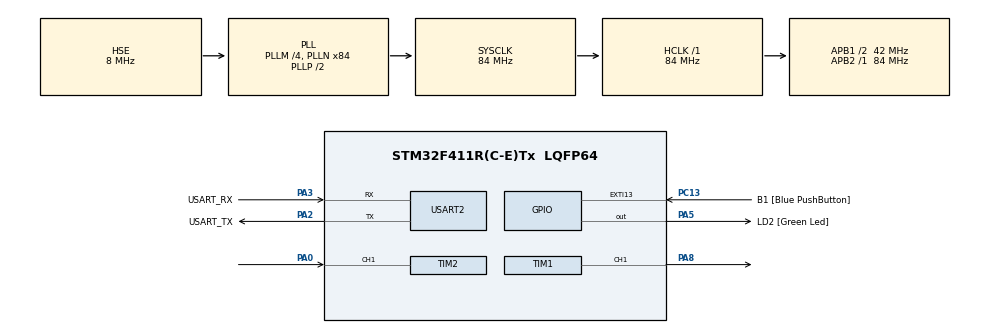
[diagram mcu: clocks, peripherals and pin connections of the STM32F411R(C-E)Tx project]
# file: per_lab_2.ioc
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Dma.Request0=TIM2_CH1
Dma.TIM2_CH1.0.Direction=DMA_PERIPH_TO_MEMORY
Dma.TIM2_CH1.0.FIFOMode=DMA_FIFOMODE_DISABLE
Dma.TIM2_CH1.0.Instance=DMA1_Stream5
Dma.TIM2_CH1.0.MemDataAlignment=DMA_MDATAALIGN_WORD
Dma.TIM2_CH1.0.MemInc=DMA_MINC_ENABLE
Dma.TIM2_CH1.0.Mode=DMA_CIRCULAR
Dma.TIM2_CH1.0.PeriphDataAlignment=DMA_PDATAALIGN_WORD
Dma.TIM2_CH1.0.PeriphInc=DMA_PINC_DISABLE
Dma.TIM2_CH1.0.Priority=DMA_PRIORITY_LOW
Mcu.Family=STM32F4
Mcu.Name=STM32F411R(C-E)Tx
Mcu.Package=LQFP64
NVIC.DMA1_Stream5_IRQn=true\:0\:0\:false\:false\:true\:false\:true\:true
NVIC.PriorityGroup=NVIC_PRIORITYGROUP_0
PA0-WKUP.Signal=S_TIM2_CH1_ETR
PA1.Signal=S_TIM2_CH2
PA13.GPIO_Label=TMS
PA13.Mode=Serial_Wire
PA13.Signal=SYS_JTMS-SWDIO
PA14.GPIO_Label=TCK
PA14.Mode=Serial_Wire
PA14.Signal=SYS_JTCK-SWCLK
PA2.GPIO_Label=USART_TX
PA2.Mode=Asynchronous
PA2.Signal=USART2_TX
PA3.GPIO_Label=USART_RX
PA3.Mode=Asynchronous
PA3.Signal=USART2_RX
PA5.GPIO_Label=LD2 [Green Led]
PA5.Signal=GPIO_Output
PA8.Signal=S_TIM1_CH1
PB3.GPIO_Label=SWO
PB3.Signal=SYS_JTDO-SWO
PC13-ANTI_TAMP.GPIO_Label=B1 [Blue PushButton]
PC13-ANTI_TAMP.GPIO_ModeDefaultEXTI=GPIO_MODE_IT_FALLING
PC13-ANTI_TAMP.Signal=GPXTI13
PC14-OSC32_IN.Mode=LSE-External-Oscillator
PC14-OSC32_IN.Signal=RCC_OSC32_IN
PC15-OSC32_OUT.Mode=LSE-External-Oscillator
PC15-OSC32_OUT.Signal=RCC_OSC32_OUT
PH0\ -\ OSC_IN.Mode=HSE-External-Clock-Source
PH0\ -\ OSC_IN.Signal=RCC_OSC_IN
PH1\ -\ OSC_OUT.Mode=HSE-External-Clock-Source
PH1\ -\ OSC_OUT.Signal=RCC_OSC_OUT
ProjectManager.HeapSize=0x200
ProjectManager.StackSize=0x400
ProjectManager.TargetToolchain=STM32CubeIDE
RCC.48MHZClocksFreq_Value=42000000
RCC.AHBFreq_Value=84000000
RCC.APB1CLKDivider=RCC_HCLK_DIV2
RCC.APB1Freq_Value=42000000
RCC.APB1TimFreq_Value=84000000
RCC.APB2Freq_Value=84000000
RCC.APB2TimFreq_Value=84000000
RCC.CortexFreq_Value=84000000
RCC.FLatency-AdvancedSettings=FLASH_LATENCY_2
RCC.HCLKFreq_Value=84000000
RCC.HSE_VALUE=8000000
RCC.HSI_VALUE=16000000
RCC.PLLM=4
RCC.PLLN=84
RCC.PLLSourceVirtual=RCC_PLLSOURCE_HSE
RCC.SYSCLKFreq_VALUE=84000000
RCC.SYSCLKSource=RCC_SYSCLKSOURCE_PLLCLK
RCC.VCOOutputFreq_Value=168000000
SH.S_TIM1_CH1.0=TIM1_CH1,PWM Generation1 CH1
SH.S_TIM2_CH1_ETR.0=TIM2_CH1,Input_Capture1_from_TI1
SH.S_TIM2_CH2.0=TIM2_CH2
TIM1.Channel-PWM\ Generation1\ CH1=TIM_CHANNEL_1
TIM1.Period=999
TIM1.Prescaler=83
TIM1.Pulse-PWM\ Generation1\ CH1=500
TIM2.Channel-Input_Capture1_from_TI1=TIM_CHANNEL_1
TIM2.Prescaler=83
USART2.VirtualMode=VM_ASYNC
VP_TIM1_VS_ClockSourceINT.Mode=Internal
VP_TIM2_VS_ClockSourceINT.Mode=Internal
board=NUCLEO-F411RE

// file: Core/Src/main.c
/* USER CODE BEGIN Header */
/**
  ******************************************************************************
  * @file           : main.c
  * @brief          : Main program body
  ******************************************************************************
  * @attention
  *
  * Copyright (c) 2023 STMicroelectronics.
  * All rights reserved.
  *
  * This software is licensed under terms that can be found in the LICENSE file
  * in the root directory of this software component.
  * If no LICENSE file comes with this software, it is provided AS-IS.
  *
  ******************************************************************************
  */
/* USER CODE END Header */
#include "main.h"

/* USER CODE BEGIN Includes */
#define IC_BUFFER_SIZE 20
/* USER CODE END Includes */

TIM_HandleTypeDef htim1;
TIM_HandleTypeDef htim2;
DMA_HandleTypeDef hdma_tim2_ch1;

UART_HandleTypeDef huart2;

/* USER CODE BEGIN PV */
uint32_t InputCaptuerBuffer1[IC_BUFFER_SIZE];

float averageRisingedgePeriod;
float averageRisingedgePeriod2;
float final_rpm;
float rpm;
float final_rpm2 =0;
float rpm2;
float MotorSetRPM;

uint16_t MotorControlEnable=0;
uint32_t duty=1000;
uint32_t duty2=0;
uint32_t n=0;
uint32_t d=0;
/* USER CODE END PV */

void SystemClock_Config(void);
static void MX_GPIO_Init(void);
static void MX_DMA_Init(void);
static void MX_USART2_UART_Init(void);
static void MX_TIM1_Init(void);
static void MX_TIM2_Init(void);
/* USER CODE BEGIN PFP */
float IC_Calc_Period();
void RPM(float chicken);
void RPM2(float chicken);
void adj(float jib);
/* USER CODE END PFP */

int main(void)
{

  /* MCU Configuration--------------------------------------------------------*/

  /* Reset of all peripherals, Initializes the Flash interface and the Systick. */

HAL_Init();

  /* Configure the system clock */
  SystemClock_Config();

  /* Initialize all configured peripherals */
  MX_GPIO_Init();
  MX_DMA_Init();
  MX_USART2_UART_Init();
  MX_TIM1_Init();
  MX_TIM2_Init();
  /* USER CODE BEGIN 2 */
  HAL_TIM_Base_Start(&htim2);
  HAL_TIM_IC_Start_DMA(&htim2, TIM_CHANNEL_1, InputCaptuerBuffer1, IC_BUFFER_SIZE);

  HAL_TIM_Base_Start(&htim1);
  HAL_TIM_PWM_Start(&htim1, TIM_CHANNEL_1);
  /* USER CODE END 2 */

  /* Infinite loop */
  while (1)
  {

    /* USER CODE BEGIN 3 */
	  static uint32_t timestamp = 0;
	  if(HAL_GetTick()>=timestamp )
	  {
		  timestamp = HAL_GetTick() + 500;
		  averageRisingedgePeriod = IC_Calc_Period();
	  }

	  static uint32_t timestamp2 = 0;
	  if(HAL_GetTick()>=timestamp2)
	  {
		  timestamp2 = HAL_GetTick() + 500;
		  averageRisingedgePeriod = IC_Calc_Period();
			if ( MotorControlEnable == 0)
			{
				  RPM(averageRisingedgePeriod);
				  __HAL_TIM_SET_COMPARE(&htim1,TIM_CHANNEL_1,duty);
				  n=0;

			}
			if(MotorControlEnable == 1)
			{
						final_rpm = 0;
						RPM(averageRisingedgePeriod);
						adj(MotorSetRPM);
					  __HAL_TIM_SET_COMPARE(&htim1,TIM_CHANNEL_1,duty2);

			}

	  }

  }
  /* USER CODE END 3 */
}

void SystemClock_Config(void)
{
  RCC_OscInitTypeDef RCC_OscInitStruct = {0};
  RCC_ClkInitTypeDef RCC_ClkInitStruct = {0};

  /** Configure the main internal regulator output voltage
  */
  __HAL_RCC_PWR_CLK_ENABLE();
  __HAL_PWR_VOLTAGESCALING_CONFIG(PWR_REGULATOR_VOLTAGE_SCALE1);

  /** Initializes the RCC Oscillators according to the specified parameters
  * in the RCC_OscInitTypeDef structure.
  */
  RCC_OscInitStruct.OscillatorType = RCC_OSCILLATORTYPE_HSE;
  RCC_OscInitStruct.HSEState = RCC_HSE_BYPASS;
  RCC_OscInitStruct.PLL.PLLState = RCC_PLL_ON;
  RCC_OscInitStruct.PLL.PLLSource = RCC_PLLSOURCE_HSE;
  RCC_OscInitStruct.PLL.PLLM = 4;
  RCC_OscInitStruct.PLL.PLLN = 84;
  RCC_OscInitStruct.PLL.PLLP = RCC_PLLP_DIV2;
  RCC_OscInitStruct.PLL.PLLQ = 4;
  if (HAL_RCC_OscConfig(&RCC_OscInitStruct) != HAL_OK)
  {
    Error_Handler();
  }

  /** Initializes the CPU, AHB and APB buses clocks
  */
  RCC_ClkInitStruct.ClockType = RCC_CLOCKTYPE_HCLK|RCC_CLOCKTYPE_SYSCLK
                              |RCC_CLOCKTYPE_PCLK1|RCC_CLOCKTYPE_PCLK2;
  RCC_ClkInitStruct.SYSCLKSource = RCC_SYSCLKSOURCE_PLLCLK;
  RCC_ClkInitStruct.AHBCLKDivider = RCC_SYSCLK_DIV1;
  RCC_ClkInitStruct.APB1CLKDivider = RCC_HCLK_DIV2;
  RCC_ClkInitStruct.APB2CLKDivider = RCC_HCLK_DIV1;

  if (HAL_RCC_ClockConfig(&RCC_ClkInitStruct, FLASH_LATENCY_2) != HAL_OK)
  {
    Error_Handler();
  }
}

static void MX_TIM1_Init(void)
{

  TIM_ClockConfigTypeDef sClockSourceConfig = {0};
  TIM_MasterConfigTypeDef sMasterConfig = {0};
  TIM_OC_InitTypeDef sConfigOC = {0};
  TIM_BreakDeadTimeConfigTypeDef sBreakDeadTimeConfig = {0};

  htim1.Instance = TIM1;
  htim1.Init.Prescaler = 83;
  htim1.Init.CounterMode = TIM_COUNTERMODE_UP;
  htim1.Init.Period = 999;
  htim1.Init.ClockDivision = TIM_CLOCKDIVISION_DIV1;
  htim1.Init.RepetitionCounter = 0;
  htim1.Init.AutoReloadPreload = TIM_AUTORELOAD_PRELOAD_DISABLE;
  if (HAL_TIM_Base_Init(&htim1) != HAL_OK)
  {
    Error_Handler();
  }
  sClockSourceConfig.ClockSource = TIM_CLOCKSOURCE_INTERNAL;
  if (HAL_TIM_ConfigClockSource(&htim1, &sClockSourceConfig) != HAL_OK)
  {
    Error_Handler();
  }
  if (HAL_TIM_PWM_Init(&htim1) != HAL_OK)
  {
    Error_Handler();
  }
  sMasterConfig.MasterOutputTrigger = TIM_TRGO_RESET;
  sMasterConfig.MasterSlaveMode = TIM_MASTERSLAVEMODE_DISABLE;
  if (HAL_TIMEx_MasterConfigSynchronization(&htim1, &sMasterConfig) != HAL_OK)
  {
    Error_Handler();
  }
  sConfigOC.OCMode = TIM_OCMODE_PWM1;
  sConfigOC.Pulse = 500;
  sConfigOC.OCPolarity = TIM_OCPOLARITY_HIGH;
  sConfigOC.OCNPolarity = TIM_OCNPOLARITY_HIGH;
  sConfigOC.OCFastMode = TIM_OCFAST_DISABLE;
  sConfigOC.OCIdleState = TIM_OCIDLESTATE_RESET;
  sConfigOC.OCNIdleState = TIM_OCNIDLESTATE_RESET;
  if (HAL_TIM_PWM_ConfigChannel(&htim1, &sConfigOC, TIM_CHANNEL_1) != HAL_OK)
  {
    Error_Handler();
  }
  sBreakDeadTimeConfig.OffStateRunMode = TIM_OSSR_DISABLE;
  sBreakDeadTimeConfig.OffStateIDLEMode = TIM_OSSI_DISABLE;
  sBreakDeadTimeConfig.LockLevel = TIM_LOCKLEVEL_OFF;
  sBreakDeadTimeConfig.DeadTime = 0;
  sBreakDeadTimeConfig.BreakState = TIM_BREAK_DISABLE;
  sBreakDeadTimeConfig.BreakPolarity = TIM_BREAKPOLARITY_HIGH;
  sBreakDeadTimeConfig.AutomaticOutput = TIM_AUTOMATICOUTPUT_DISABLE;
  if (HAL_TIMEx_ConfigBreakDeadTime(&htim1, &sBreakDeadTimeConfig) != HAL_OK)
  {
    Error_Handler();
  }
  HAL_TIM_MspPostInit(&htim1);

}

static void MX_TIM2_Init(void)
{

  TIM_ClockConfigTypeDef sClockSourceConfig = {0};
  TIM_MasterConfigTypeDef sMasterConfig = {0};
  TIM_IC_InitTypeDef sConfigIC = {0};

  htim2.Instance = TIM2;
  htim2.Init.Prescaler = 83;
  htim2.Init.CounterMode = TIM_COUNTERMODE_UP;
  htim2.Init.Period = 4294967295;
  htim2.Init.ClockDivision = TIM_CLOCKDIVISION_DIV1;
  htim2.Init.AutoReloadPreload = TIM_AUTORELOAD_PRELOAD_DISABLE;
  if (HAL_TIM_Base_Init(&htim2) != HAL_OK)
  {
    Error_Handler();
  }
  sClockSourceConfig.ClockSource = TIM_CLOCKSOURCE_INTERNAL;
  if (HAL_TIM_ConfigClockSource(&htim2, &sClockSourceConfig) != HAL_OK)
  {
    Error_Handler();
  }
  if (HAL_TIM_IC_Init(&htim2) != HAL_OK)
  {
    Error_Handler();
  }
  sMasterConfig.MasterOutputTrigger = TIM_TRGO_RESET;
  sMasterConfig.MasterSlaveMode = TIM_MASTERSLAVEMODE_DISABLE;
  if (HAL_TIMEx_MasterConfigSynchronization(&htim2, &sMasterConfig) != HAL_OK)
  {
    Error_Handler();
  }
  sConfigIC.ICPolarity = TIM_INPUTCHANNELPOLARITY_RISING;
  sConfigIC.ICSelection = TIM_ICSELECTION_DIRECTTI;
  sConfigIC.ICPrescaler = TIM_ICPSC_DIV1;
  sConfigIC.ICFilter = 0;
  if (HAL_TIM_IC_ConfigChannel(&htim2, &sConfigIC, TIM_CHANNEL_1) != HAL_OK)
  {
    Error_Handler();
  }

}

static void MX_USART2_UART_Init(void)
{

  huart2.Instance = USART2;
  huart2.Init.BaudRate = 115200;
  huart2.Init.WordLength = UART_WORDLENGTH_8B;
  huart2.Init.StopBits = UART_STOPBITS_1;
  huart2.Init.Parity = UART_PARITY_NONE;
  huart2.Init.Mode = UART_MODE_TX_RX;
  huart2.Init.HwFlowCtl = UART_HWCONTROL_NONE;
  huart2.Init.OverSampling = UART_OVERSAMPLING_16;
  if (HAL_UART_Init(&huart2) != HAL_OK)
  {
    Error_Handler();
  }

}

static void MX_DMA_Init(void)
{

  /* DMA controller clock enable */
  __HAL_RCC_DMA1_CLK_ENABLE();

  /* DMA interrupt init */
  /* DMA1_Stream5_IRQn interrupt configuration */
  HAL_NVIC_SetPriority(DMA1_Stream5_IRQn, 0, 0);
  HAL_NVIC_EnableIRQ(DMA1_Stream5_IRQn);

}

static void MX_GPIO_Init(void)
{
  GPIO_InitTypeDef GPIO_InitStruct = {0};

  /* GPIO Ports Clock Enable */
  __HAL_RCC_GPIOC_CLK_ENABLE();
  __HAL_RCC_GPIOH_CLK_ENABLE();
  __HAL_RCC_GPIOA_CLK_ENABLE();
  __HAL_RCC_GPIOB_CLK_ENABLE();

  /*Configure GPIO pin Output Level */
  HAL_GPIO_WritePin(LD2_GPIO_Port, LD2_Pin, GPIO_PIN_RESET);

  /*Configure GPIO pin : B1_Pin */
  GPIO_InitStruct.Pin = B1_Pin;
  GPIO_InitStruct.Mode = GPIO_MODE_IT_FALLING;
  GPIO_InitStruct.Pull = GPIO_NOPULL;
  HAL_GPIO_Init(B1_GPIO_Port, &GPIO_InitStruct);

  /*Configure GPIO pin : LD2_Pin */
  GPIO_InitStruct.Pin = LD2_Pin;
  GPIO_InitStruct.Mode = GPIO_MODE_OUTPUT_PP;
  GPIO_InitStruct.Pull = GPIO_NOPULL;
  GPIO_InitStruct.Speed = GPIO_SPEED_FREQ_LOW;
  HAL_GPIO_Init(LD2_GPIO_Port, &GPIO_InitStruct);

}

/* USER CODE BEGIN 4 */
float IC_Calc_Period()
{
	uint32_t currentDMAPointer = IC_BUFFER_SIZE - __HAL_DMA_GET_COUNTER(htim2.hdma[1]);
	uint32_t lastVaildDMAPointer = (currentDMAPointer-1 + IC_BUFFER_SIZE) % IC_BUFFER_SIZE;
	uint32_t i = (lastVaildDMAPointer + IC_BUFFER_SIZE - 5) % IC_BUFFER_SIZE;

	int32_t sumdiff = 0;
	while (i != lastVaildDMAPointer)
	{
		uint32_t firstCapture = InputCaptuerBuffer1[i];
		uint32_t NextCaptuer = InputCaptuerBuffer1[(i+1)%IC_BUFFER_SIZE];
		sumdiff += NextCaptuer - firstCapture;
		i = (i+1)%IC_BUFFER_SIZE;
	}
	return sumdiff / 5.0;
}
void RPM (float chicken)
{
	rpm = (chicken*12.0)/1000000.0;
	final_rpm = (60.0/rpm)/64;
}
//void RPM2 (float chicken)
//{
//	rpm2 = (chicken*12.0)/1000000.0;
//	final_rpm2 = (60.0/rpm2)/64;
//}
void adj (float jip)
{

	if (jip==0 || jip <=3)
			 {
				 duty2 = 100;
			 }

	if (jip>3)
		{
			if (jip < 5 && jip < final_rpm )
			{
				duty2 = 100;
			}
			else if (jip >= 28)
			{
				duty2 = 1000;
			}
			else if (jip < final_rpm)
			{
				duty2 = duty2 - 5;
			}
			else if (jip > final_rpm)
			{
				duty2 = duty2 + 5;
			}

		}
	else
	{
		duty2=0;
	}

}
/* USER CODE END 4 */

void Error_Handler(void)
{
  __disable_irq();
  while (1)
  {
  }
}
